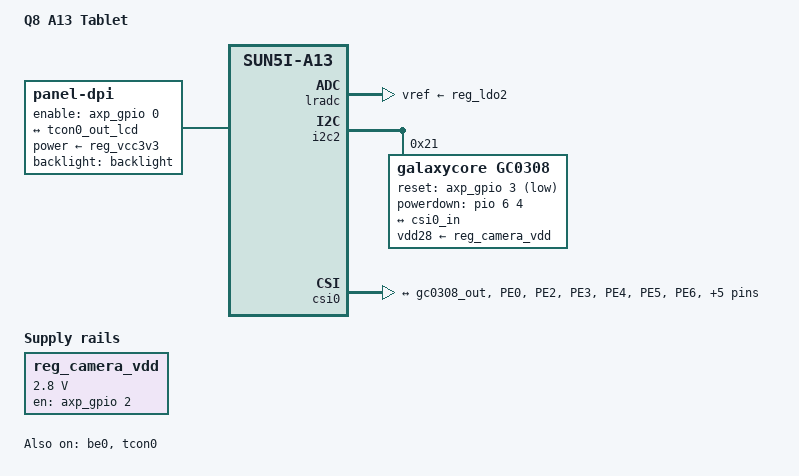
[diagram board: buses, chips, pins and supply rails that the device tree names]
/*
 * Copyright 2015 Hans de Goede <hdegoede@redhat.com>
 *
 * This file is dual-licensed: you can use it either under the terms
 * of the GPL or the X11 license, at your option. Note that this dual
 * licensing only applies to this file, and not this project as a
 * whole.
 *
 *  a) This file is free software; you can redistribute it and/or
 *     modify it under the terms of the GNU General Public License as
 *     published by the Free Software Foundation; either version 2 of the
 *     License, or (at your option) any later version.
 *
 *     This file is distributed in the hope that it will be useful,
 *     but WITHOUT ANY WARRANTY; without even the implied warranty of
 *     MERCHANTABILITY or FITNESS FOR A PARTICULAR PURPOSE.  See the
 *     GNU General Public License for more details.
 *
 * Or, alternatively,
 *
 *  b) Permission is hereby granted, free of charge, to any person
 *     obtaining a copy of this software and associated documentation
 *     files (the "Software"), to deal in the Software without
 *     restriction, including without limitation the rights to use,
 *     copy, modify, merge, publish, distribute, sublicense, and/or
 *     sell copies of the Software, and to permit persons to whom the
 *     Software is furnished to do so, subject to the following
 *     conditions:
 *
 *     The above copyright notice and this permission notice shall be
 *     included in all copies or substantial portions of the Software.
 *
 *     THE SOFTWARE IS PROVIDED "AS IS", WITHOUT WARRANTY OF ANY KIND,
 *     EXPRESS OR IMPLIED, INCLUDING BUT NOT LIMITED TO THE WARRANTIES
 *     OF MERCHANTABILITY, FITNESS FOR A PARTICULAR PURPOSE AND
 *     NONINFRINGEMENT. IN NO EVENT SHALL THE AUTHORS OR COPYRIGHT
 *     HOLDERS BE LIABLE FOR ANY CLAIM, DAMAGES OR OTHER LIABILITY,
 *     WHETHER IN AN ACTION OF CONTRACT, TORT OR OTHERWISE, ARISING
 *     FROM, OUT OF OR IN CONNECTION WITH THE SOFTWARE OR THE USE OR
 *     OTHER DEALINGS IN THE SOFTWARE.
 */

/dts-v1/;
#include "sun5i-a13.dtsi"
#include "sun5i-reference-design-tablet.dtsi"

/ {
	model = "Q8 A13 Tablet";
	compatible = "allwinner,q8-a13", "allwinner,sun5i-a13";

	panel: panel {
		compatible = "bananapi,s070wv20-ct16";
		power-supply = <&reg_vcc3v3>;
		enable-gpios = <&axp_gpio 0 GPIO_ACTIVE_HIGH>; /* AXP GPIO0 */
		backlight = <&backlight>;

		port {
			panel_input: endpoint {
				remote-endpoint = <&tcon0_out_lcd>;
			};
		};
	};
};

&be0 {
	status = "okay";
};

&tcon0 {
	pinctrl-names = "default";
	pinctrl-0 = <&lcd_rgb666_pins>;
	status = "okay";
};

&tcon0_out {
	tcon0_out_lcd: endpoint@0 {
		reg = <0>;
		remote-endpoint = <&panel_input>;
	};
};
/*
 * Casper TAB-WB72 / INTREEO
 *
 * Physical Home button connected to Allwinner A13 LRADC.
 * Measured under original Android 4.0.4:
 *   pressed  = 0x1b (27)
 *   released = 0x3f (63)
 *
 * Vref = 3.0V * 2/3 = 2.0V
 * Key voltage = 27 * 2000000 / 63 = 857142 uV
 */
 &lradc {
        vref-supply = <&reg_ldo2>;
        status = "okay";

        /delete-node/ button-200;
        /delete-node/ button-400;

        button-857 {
                label = "Casper Physical Home";
                linux,code = <KEY_HOME>;
                channel = <0>;
                voltage = <857142>;
        };
};
/*
 * Casper TAB-WB72 / INTREEO LCD
 * Timings derived from original Android 4.0.4 FEX.
 *
 * Experimental display timing override.
 * Kernel #5 remains the fallback.
 */
&panel {
        compatible = "panel-dpi";

        panel-timing {
                clock-frequency = <33000000>;

                hactive = <800>;
                vactive = <480>;

                hfront-porch = <209>;
                hsync-len = <1>;
                hback-porch = <45>;

                vfront-porch = <22>;
                vsync-len = <1>;
                vback-porch = <22>;
        };
};

/* Casper TAB-WB72: parallel camera interface */
&pio {
    csi0_pins: csi0-pins {
        pins = "PE0", "PE1", "PE2", "PE3",
               "PE4", "PE5", "PE6", "PE7",
               "PE8", "PE9", "PE10", "PE11";
        function = "csi0";
    };
    csi_data_pins: csi-data-pins {
        pins = "PE0", "PE2", "PE3",
               "PE4", "PE5", "PE6", "PE7",
               "PE8", "PE9", "PE10", "PE11";
        function = "csi0";
    };


    csi_mclk_pin: csi-mclk-pin {
        pins = "PE1";
        function = "csi0";
    };
};
/ {
    casper-csi-mclk-test {
        compatible = "casper,csi-mclk-test";
        clocks = <&ccu CLK_CSI>;
        clock-names = "mclk";
        pinctrl-names = "default";
        pinctrl-0 = <&csi_mclk_pin>;
        status = "disabled";
    };
};

/* Casper GC0308 camera sensor */
&i2c2 {
    status = "okay";

    gc0308: camera@21 {
        compatible = "galaxycore,gc0308";
        reg = <0x21>;

        clocks = <&ccu CLK_CSI>;

        pinctrl-names = "default";
        pinctrl-0 = <&csi_mclk_pin>;

        vdd28-supply = <&reg_camera_vdd>;

        reset-gpios = <&axp_gpio 3 GPIO_ACTIVE_LOW>;
        powerdown-gpios = <&pio 6 4 GPIO_ACTIVE_HIGH>;

        port {
            gc0308_out: endpoint {
                remote-endpoint = <&csi0_in>;
                bus-width = <8>;
            };
        };
    };
};

/* Casper: Release PG3/PG4 for camera standby */
&uart1 {
    status = "disabled";
};
/* Casper camera power enable via AXP209 GPIO2 */
 / {
    reg_camera_vdd: regulator-camera-vdd {
        compatible = "regulator-fixed";
        regulator-name = "casper-camera-vdd";
        regulator-min-microvolt = <2800000>;
        regulator-max-microvolt = <2800000>;

        gpio = <&axp_gpio 2 GPIO_ACTIVE_HIGH>;
        enable-active-high;
        gpio-open-drain;
        startup-delay-us = <10000>;
    };
};
/* Casper TAB-WB72 - Allwinner A13 CSI0 */
&{/soc} {
    csi0: csi@1c09000 {
        compatible = "allwinner,sun5i-a13-csi0";
        reg = <0x01c09000 0x1000>;
        interrupts = <42>;

        clocks = <&ccu CLK_AHB_CSI>,
                 <&ccu CLK_DRAM_CSI>;
        clock-names = "bus", "ram";

        resets = <&ccu RST_CSI>;

        pinctrl-names = "default";
        pinctrl-0 = <&csi_data_pins>;

        status = "okay";

        port {
            csi0_in: endpoint {
                remote-endpoint = <&gc0308_out>;
                bus-width = <8>;
            };
        };
    };
};
